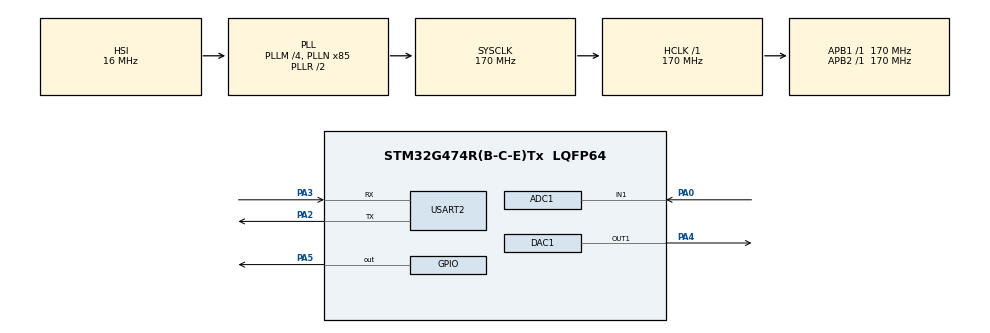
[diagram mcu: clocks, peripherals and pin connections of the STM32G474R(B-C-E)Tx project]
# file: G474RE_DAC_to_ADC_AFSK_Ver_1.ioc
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ADC1.Channel-0\#ChannelRegularConversion=ADC_CHANNEL_1
ADC1.ContinuousConvMode=DISABLE
ADC1.DMAContinuousRequests=ENABLE
ADC1.ExternalTrigConv=ADC_EXTERNALTRIG_T6_TRGO
ADC1.NbrOfConversionFlag=1
ADC1.OffsetNumber-0\#ChannelRegularConversion=ADC_OFFSET_NONE
ADC1.Rank-0\#ChannelRegularConversion=1
ADC1.SamplingTime-0\#ChannelRegularConversion=ADC_SAMPLETIME_47CYCLES_5
ADC1.master=1
DAC1.DAC_Trigger_OUT1-DAC_OUT1_ExtAndInt=DAC_TRIGGER_T6_TRGO
Dma.ADC1.0.Direction=DMA_PERIPH_TO_MEMORY
Dma.ADC1.0.EventEnable=DISABLE
Dma.ADC1.0.Instance=DMA1_Channel1
Dma.ADC1.0.MemDataAlignment=DMA_MDATAALIGN_HALFWORD
Dma.ADC1.0.MemInc=DMA_MINC_ENABLE
Dma.ADC1.0.Mode=DMA_CIRCULAR
Dma.ADC1.0.PeriphDataAlignment=DMA_PDATAALIGN_HALFWORD
Dma.ADC1.0.PeriphInc=DMA_PINC_DISABLE
Dma.ADC1.0.Polarity=HAL_DMAMUX_REQ_GEN_RISING
Dma.ADC1.0.Priority=DMA_PRIORITY_HIGH
Dma.ADC1.0.RequestNumber=1
Dma.ADC1.0.SignalID=NONE
Dma.ADC1.0.SyncEnable=DISABLE
Dma.ADC1.0.SyncPolarity=HAL_DMAMUX_SYNC_NO_EVENT
Dma.ADC1.0.SyncRequestNumber=1
Dma.ADC1.0.SyncSignalID=NONE
Dma.DAC1_CH1.1.Direction=DMA_MEMORY_TO_PERIPH
Dma.DAC1_CH1.1.EventEnable=DISABLE
Dma.DAC1_CH1.1.Instance=DMA1_Channel2
Dma.DAC1_CH1.1.MemDataAlignment=DMA_MDATAALIGN_HALFWORD
Dma.DAC1_CH1.1.MemInc=DMA_MINC_ENABLE
Dma.DAC1_CH1.1.Mode=DMA_CIRCULAR
Dma.DAC1_CH1.1.PeriphDataAlignment=DMA_PDATAALIGN_WORD
Dma.DAC1_CH1.1.PeriphInc=DMA_PINC_DISABLE
Dma.DAC1_CH1.1.Polarity=HAL_DMAMUX_REQ_GEN_RISING
Dma.DAC1_CH1.1.Priority=DMA_PRIORITY_HIGH
Dma.DAC1_CH1.1.RequestNumber=1
Dma.DAC1_CH1.1.SignalID=NONE
Dma.DAC1_CH1.1.SyncEnable=DISABLE
Dma.DAC1_CH1.1.SyncPolarity=HAL_DMAMUX_SYNC_NO_EVENT
Dma.DAC1_CH1.1.SyncRequestNumber=1
Dma.DAC1_CH1.1.SyncSignalID=NONE
Dma.Request0=ADC1
Dma.Request1=DAC1_CH1
Mcu.Family=STM32G4
Mcu.Name=STM32G474R(B-C-E)Tx
Mcu.Package=LQFP64
NVIC.ADC1_2_IRQn=true\:0\:0\:false\:false\:true\:true\:true\:true
NVIC.DMA1_Channel1_IRQn=true\:0\:0\:false\:false\:true\:false\:true\:true
NVIC.DMA1_Channel2_IRQn=true\:0\:0\:false\:false\:true\:false\:true\:true
NVIC.PriorityGroup=NVIC_PRIORITYGROUP_4
NVIC.TIM6_DAC_IRQn=true\:0\:0\:false\:false\:true\:true\:true\:true
NVIC.USART2_IRQn=true\:0\:0\:false\:false\:true\:true\:true\:true
PA0.Mode=IN1-Single-Ended
PA0.Signal=ADC1_IN1
PA13.Mode=Serial_Wire
PA13.Signal=SYS_JTMS-SWDIO
PA14.Mode=Serial_Wire
PA14.Signal=SYS_JTCK-SWCLK
PA2.Mode=Asynchronous
PA2.Signal=USART2_TX
PA3.Mode=Asynchronous
PA3.Signal=USART2_RX
PA4.Signal=COMP_DAC11_group
PA5.Signal=GPIO_Output
PC14-OSC32_IN.Mode=LSE-External-Oscillator
PC14-OSC32_IN.Signal=RCC_OSC32_IN
PC15-OSC32_OUT.Mode=LSE-External-Oscillator
PC15-OSC32_OUT.Signal=RCC_OSC32_OUT
PF0-OSC_IN.Mode=HSE-External-Oscillator
PF0-OSC_IN.Signal=RCC_OSC_IN
PF1-OSC_OUT.Mode=HSE-External-Oscillator
PF1-OSC_OUT.Signal=RCC_OSC_OUT
ProjectManager.HeapSize=0x200
ProjectManager.StackSize=0x400
ProjectManager.TargetToolchain=STM32CubeIDE
RCC.ADC12Freq_Value=170000000
RCC.ADC345Freq_Value=170000000
RCC.AHBFreq_Value=170000000
RCC.APB1Freq_Value=170000000
RCC.APB1TimFreq_Value=170000000
RCC.APB2Freq_Value=170000000
RCC.APB2TimFreq_Value=170000000
RCC.CortexFreq_Value=170000000
RCC.EXTERNAL_CLOCK_VALUE=12288000
RCC.HCLKFreq_Value=170000000
RCC.HSE_VALUE=8000000
RCC.HSI48_VALUE=48000000
RCC.HSI_VALUE=16000000
RCC.PLLM=RCC_PLLM_DIV4
RCC.PLLN=85
RCC.SYSCLKFreq_VALUE=170000000
RCC.SYSCLKSource=RCC_SYSCLKSOURCE_PLLCLK
RCC.USBFreq_Value=170000000
RCC.VCOOutputFreq_Value=340000000
SH.COMP_DAC11_group.0=DAC1_OUT1,DAC_OUT1_ExtAndInt
TIM6.PeriodNoDither=3541
TIM6.TIM_MasterOutputTrigger=TIM_TRGO_UPDATE
USART2.VirtualMode-Asynchronous=VM_ASYNC
VP_SYS_VS_DBSignals.Mode=DisableDeadBatterySignals
VP_TIM6_VS_ClockSourceINT.Mode=Enable_Timer
board=custom

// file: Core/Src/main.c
/* USER CODE BEGIN Header */
/**
 ******************************************************************************
 * @file           : main.c
 * @brief          : Main program body
 ******************************************************************************
 * @attention
 *
 * Copyright (c) 2025 STMicroelectronics.
 * All rights reserved.
 *
 * This software is licensed under terms that can be found in the LICENSE file
 * in the root directory of this software component.
 * If no LICENSE file comes with this software, it is provided AS-IS.
 *
 ******************************************************************************
 */
/* USER CODE END Header */
#include "main.h"

/* USER CODE BEGIN Includes */
#include <math.h>
#include <string.h>
#include <stdio.h>
/* USER CODE END Includes */

/* USER CODE BEGIN PTD */
#define SAMPLE_RATE     48000
#define BITRATE         1200
#define SAMPLES_PER_BIT (SAMPLE_RATE / BITRATE) // 40

#define TABLE_SIZE      64
#define FREQ_MARK       1200
#define FREQ_SPACE      2200
#define DAC_AMPL  2047
#define DAC_OFFS  2048
#define ADC_BUF_LEN ((1+8+1) * SAMPLES_PER_BIT)
/* USER CODE END PTD */

/* USER CODE BEGIN PD */
uint16_t dac_buf[(1 + 8 + 1) * SAMPLES_PER_BIT]; // start + 8 data + stop
uint32_t adc_buf[ADC_BUF_LEN];

/* --- Sine tables --- */
uint16_t sine1200[TABLE_SIZE];
uint16_t sine2200[TABLE_SIZE];
volatile uint8_t adc_done = 0;
/* UART + LED */
char uart_msg[64];

/* USER CODE END PD */

/* USER CODE BEGIN PM */
void build_afsk_lut(uint8_t bit);        // generate AFSK tone for 0 or 1
void afsk_send_char(uint8_t c);         // convert char to bits + fill DAC
void goertzel_decode_half(uint16_t *buf, uint16_t len);
void goertzel_decode_full(uint16_t *buf, uint16_t len);
/* USER CODE END PM */

ADC_HandleTypeDef hadc1;
DMA_HandleTypeDef hdma_adc1;

DAC_HandleTypeDef hdac1;
DMA_HandleTypeDef hdma_dac1_ch1;

TIM_HandleTypeDef htim6;

UART_HandleTypeDef huart2;

void SystemClock_Config(void);
static void MX_GPIO_Init(void);
static void MX_DMA_Init(void);
static void MX_ADC1_Init(void);
static void MX_DAC1_Init(void);
static void MX_TIM6_Init(void);
static void MX_USART2_UART_Init(void);

/* USER CODE BEGIN 0 */
void make_sine_tables(void);
void afsk_build_char(uint8_t ch);
uint8_t goertzel_decode_bit(uint16_t *samples);
uint8_t afsk_receive_char(void);
void fill_tone(uint16_t *buf, int samples, float freq);

/* USER CODE END 0 */

int main(void)
{

  /* MCU Configuration--------------------------------------------------------*/

  /* Reset of all peripherals, Initializes the Flash interface and the Systick. */
  HAL_Init();

  /* Configure the system clock */
  SystemClock_Config();

  /* Initialize all configured peripherals */
  MX_GPIO_Init();
  MX_DMA_Init();
  MX_ADC1_Init();
  MX_DAC1_Init();
  MX_TIM6_Init();
  MX_USART2_UART_Init();
  /* USER CODE BEGIN 2 */
	HAL_TIM_Base_Start(&htim6);
	afsk_build_char('K');
	HAL_DAC_Start_DMA(&hdac1, DAC_CHANNEL_1, (uint32_t*) dac_buf,
			sizeof(dac_buf) / sizeof(dac_buf[0]), DAC_ALIGN_12B_R);
	HAL_ADC_Start_DMA(&hadc1, (uint32_t*) adc_buf,
			sizeof(dac_buf) / sizeof(dac_buf[0]));

	make_sine_tables();

	sprintf(uart_msg, "AFSK Loopback Start\r\n");
	HAL_UART_Transmit(&huart2, (uint8_t*) uart_msg, strlen(uart_msg),
	HAL_MAX_DELAY);
	if (adc_done) {
		adc_done = 0; // reset flag

		// Debug: print first 16 ADC samples
		for (int i = 0; i < 16; i++) {
			sprintf(uart_msg, "%lu ", (unsigned long) adc_buf[i]);

			HAL_UART_Transmit(&huart2, (uint8_t*) uart_msg, strlen(uart_msg),
			HAL_MAX_DELAY);
		}
		HAL_UART_Transmit(&huart2, (uint8_t*) "\r\n", 2, HAL_MAX_DELAY);

		// Then try decode
		uint8_t decoded = afsk_receive_char();
		sprintf(uart_msg, "TX: K | RX: %c\r\n", decoded);
		HAL_UART_Transmit(&huart2, (uint8_t*) uart_msg, strlen(uart_msg),
		HAL_MAX_DELAY);
	}

  /* USER CODE END 2 */

  /* Infinite loop */
	while (1) {

    /* USER CODE BEGIN 3 */
		if (adc_done) {
			adc_done = 0;  // reset flag

			// Print first 16 ADC samples for debugging
			for (int i = 0; i < 16; i++) {
				sprintf(uart_msg, "%lu ", (unsigned long) adc_buf[i]);
				HAL_UART_Transmit(&huart2, (uint8_t*) uart_msg,
						strlen(uart_msg), HAL_MAX_DELAY);
			}
			HAL_UART_Transmit(&huart2, (uint8_t*) "\r\n", 2, HAL_MAX_DELAY);

			// Decode received character
			uint8_t decoded = afsk_receive_char();
			sprintf(uart_msg, "TX: K | RX: %c\r\n", decoded);
			HAL_UART_Transmit(&huart2, (uint8_t*) uart_msg, strlen(uart_msg),
					HAL_MAX_DELAY);

			// Optional: rebuild DAC buffer for next char here
		}
	}
  /* USER CODE END 3 */
}

void SystemClock_Config(void)
{
  RCC_OscInitTypeDef RCC_OscInitStruct = {0};
  RCC_ClkInitTypeDef RCC_ClkInitStruct = {0};

  /** Configure the main internal regulator output voltage
  */
  HAL_PWREx_ControlVoltageScaling(PWR_REGULATOR_VOLTAGE_SCALE1_BOOST);

  /** Initializes the RCC Oscillators according to the specified parameters
  * in the RCC_OscInitTypeDef structure.
  */
  RCC_OscInitStruct.OscillatorType = RCC_OSCILLATORTYPE_HSI;
  RCC_OscInitStruct.HSIState = RCC_HSI_ON;
  RCC_OscInitStruct.HSICalibrationValue = RCC_HSICALIBRATION_DEFAULT;
  RCC_OscInitStruct.PLL.PLLState = RCC_PLL_ON;
  RCC_OscInitStruct.PLL.PLLSource = RCC_PLLSOURCE_HSI;
  RCC_OscInitStruct.PLL.PLLM = RCC_PLLM_DIV4;
  RCC_OscInitStruct.PLL.PLLN = 85;
  RCC_OscInitStruct.PLL.PLLP = RCC_PLLP_DIV2;
  RCC_OscInitStruct.PLL.PLLQ = RCC_PLLQ_DIV2;
  RCC_OscInitStruct.PLL.PLLR = RCC_PLLR_DIV2;
  if (HAL_RCC_OscConfig(&RCC_OscInitStruct) != HAL_OK)
  {
    Error_Handler();
  }

  /** Initializes the CPU, AHB and APB buses clocks
  */
  RCC_ClkInitStruct.ClockType = RCC_CLOCKTYPE_HCLK|RCC_CLOCKTYPE_SYSCLK
                              |RCC_CLOCKTYPE_PCLK1|RCC_CLOCKTYPE_PCLK2;
  RCC_ClkInitStruct.SYSCLKSource = RCC_SYSCLKSOURCE_PLLCLK;
  RCC_ClkInitStruct.AHBCLKDivider = RCC_SYSCLK_DIV1;
  RCC_ClkInitStruct.APB1CLKDivider = RCC_HCLK_DIV1;
  RCC_ClkInitStruct.APB2CLKDivider = RCC_HCLK_DIV1;

  if (HAL_RCC_ClockConfig(&RCC_ClkInitStruct, FLASH_LATENCY_4) != HAL_OK)
  {
    Error_Handler();
  }
}

static void MX_ADC1_Init(void)
{

  ADC_MultiModeTypeDef multimode = {0};
  ADC_ChannelConfTypeDef sConfig = {0};

  /** Common config
  */
  hadc1.Instance = ADC1;
  hadc1.Init.ClockPrescaler = ADC_CLOCK_SYNC_PCLK_DIV4;
  hadc1.Init.Resolution = ADC_RESOLUTION_12B;
  hadc1.Init.DataAlign = ADC_DATAALIGN_RIGHT;
  hadc1.Init.GainCompensation = 0;
  hadc1.Init.ScanConvMode = ADC_SCAN_DISABLE;
  hadc1.Init.EOCSelection = ADC_EOC_SINGLE_CONV;
  hadc1.Init.LowPowerAutoWait = DISABLE;
  hadc1.Init.ContinuousConvMode = DISABLE;
  hadc1.Init.NbrOfConversion = 1;
  hadc1.Init.DiscontinuousConvMode = DISABLE;
  hadc1.Init.ExternalTrigConv = ADC_EXTERNALTRIG_T6_TRGO;
  hadc1.Init.ExternalTrigConvEdge = ADC_EXTERNALTRIGCONVEDGE_RISING;
  hadc1.Init.DMAContinuousRequests = ENABLE;
  hadc1.Init.Overrun = ADC_OVR_DATA_PRESERVED;
  hadc1.Init.OversamplingMode = DISABLE;
  if (HAL_ADC_Init(&hadc1) != HAL_OK)
  {
    Error_Handler();
  }

  /** Configure the ADC multi-mode
  */
  multimode.Mode = ADC_MODE_INDEPENDENT;
  if (HAL_ADCEx_MultiModeConfigChannel(&hadc1, &multimode) != HAL_OK)
  {
    Error_Handler();
  }

  /** Configure Regular Channel
  */
  sConfig.Channel = ADC_CHANNEL_1;
  sConfig.Rank = ADC_REGULAR_RANK_1;
  sConfig.SamplingTime = ADC_SAMPLETIME_47CYCLES_5;
  sConfig.SingleDiff = ADC_SINGLE_ENDED;
  sConfig.OffsetNumber = ADC_OFFSET_NONE;
  sConfig.Offset = 0;
  if (HAL_ADC_ConfigChannel(&hadc1, &sConfig) != HAL_OK)
  {
    Error_Handler();
  }

}

static void MX_DAC1_Init(void)
{

  DAC_ChannelConfTypeDef sConfig = {0};

  /** DAC Initialization
  */
  hdac1.Instance = DAC1;
  if (HAL_DAC_Init(&hdac1) != HAL_OK)
  {
    Error_Handler();
  }

  /** DAC channel OUT1 config
  */
  sConfig.DAC_HighFrequency = DAC_HIGH_FREQUENCY_INTERFACE_MODE_AUTOMATIC;
  sConfig.DAC_DMADoubleDataMode = DISABLE;
  sConfig.DAC_SignedFormat = DISABLE;
  sConfig.DAC_SampleAndHold = DAC_SAMPLEANDHOLD_DISABLE;
  sConfig.DAC_Trigger = DAC_TRIGGER_T6_TRGO;
  sConfig.DAC_Trigger2 = DAC_TRIGGER_NONE;
  sConfig.DAC_OutputBuffer = DAC_OUTPUTBUFFER_ENABLE;
  sConfig.DAC_ConnectOnChipPeripheral = DAC_CHIPCONNECT_BOTH;
  sConfig.DAC_UserTrimming = DAC_TRIMMING_FACTORY;
  if (HAL_DAC_ConfigChannel(&hdac1, &sConfig, DAC_CHANNEL_1) != HAL_OK)
  {
    Error_Handler();
  }

}

static void MX_TIM6_Init(void)
{

  TIM_MasterConfigTypeDef sMasterConfig = {0};

  htim6.Instance = TIM6;
  htim6.Init.Prescaler = 0;
  htim6.Init.CounterMode = TIM_COUNTERMODE_UP;
  htim6.Init.Period = 3541;
  htim6.Init.AutoReloadPreload = TIM_AUTORELOAD_PRELOAD_DISABLE;
  if (HAL_TIM_Base_Init(&htim6) != HAL_OK)
  {
    Error_Handler();
  }
  sMasterConfig.MasterOutputTrigger = TIM_TRGO_UPDATE;
  sMasterConfig.MasterSlaveMode = TIM_MASTERSLAVEMODE_DISABLE;
  if (HAL_TIMEx_MasterConfigSynchronization(&htim6, &sMasterConfig) != HAL_OK)
  {
    Error_Handler();
  }

}

static void MX_USART2_UART_Init(void)
{

  huart2.Instance = USART2;
  huart2.Init.BaudRate = 115200;
  huart2.Init.WordLength = UART_WORDLENGTH_8B;
  huart2.Init.StopBits = UART_STOPBITS_1;
  huart2.Init.Parity = UART_PARITY_NONE;
  huart2.Init.Mode = UART_MODE_TX_RX;
  huart2.Init.HwFlowCtl = UART_HWCONTROL_NONE;
  huart2.Init.OverSampling = UART_OVERSAMPLING_16;
  huart2.Init.OneBitSampling = UART_ONE_BIT_SAMPLE_DISABLE;
  huart2.Init.ClockPrescaler = UART_PRESCALER_DIV1;
  huart2.AdvancedInit.AdvFeatureInit = UART_ADVFEATURE_NO_INIT;
  if (HAL_UART_Init(&huart2) != HAL_OK)
  {
    Error_Handler();
  }
  if (HAL_UARTEx_SetTxFifoThreshold(&huart2, UART_TXFIFO_THRESHOLD_1_8) != HAL_OK)
  {
    Error_Handler();
  }
  if (HAL_UARTEx_SetRxFifoThreshold(&huart2, UART_RXFIFO_THRESHOLD_1_8) != HAL_OK)
  {
    Error_Handler();
  }
  if (HAL_UARTEx_DisableFifoMode(&huart2) != HAL_OK)
  {
    Error_Handler();
  }

}

static void MX_DMA_Init(void)
{

  /* DMA controller clock enable */
  __HAL_RCC_DMAMUX1_CLK_ENABLE();
  __HAL_RCC_DMA1_CLK_ENABLE();

  /* DMA interrupt init */
  /* DMA1_Channel1_IRQn interrupt configuration */
  HAL_NVIC_SetPriority(DMA1_Channel1_IRQn, 0, 0);
  HAL_NVIC_EnableIRQ(DMA1_Channel1_IRQn);
  /* DMA1_Channel2_IRQn interrupt configuration */
  HAL_NVIC_SetPriority(DMA1_Channel2_IRQn, 0, 0);
  HAL_NVIC_EnableIRQ(DMA1_Channel2_IRQn);

}

static void MX_GPIO_Init(void)
{
  GPIO_InitTypeDef GPIO_InitStruct = {0};

  /* GPIO Ports Clock Enable */
  __HAL_RCC_GPIOC_CLK_ENABLE();
  __HAL_RCC_GPIOF_CLK_ENABLE();
  __HAL_RCC_GPIOA_CLK_ENABLE();

  /*Configure GPIO pin Output Level */
  HAL_GPIO_WritePin(GPIOA, GPIO_PIN_5, GPIO_PIN_RESET);

  /*Configure GPIO pin : PA5 */
  GPIO_InitStruct.Pin = GPIO_PIN_5;
  GPIO_InitStruct.Mode = GPIO_MODE_OUTPUT_PP;
  GPIO_InitStruct.Pull = GPIO_NOPULL;
  GPIO_InitStruct.Speed = GPIO_SPEED_FREQ_LOW;
  HAL_GPIO_Init(GPIOA, &GPIO_InitStruct);

}

/* USER CODE BEGIN 4 */
void make_sine_tables(void) {
	for (int i = 0; i < TABLE_SIZE; i++) {
		// 1200 Hz sine wave
		float t_mark = (2.0f * M_PI * FREQ_MARK * i) / SAMPLE_RATE;
		sine1200[i] = 2048 + (int) (2047 * sinf(t_mark));

		// 2200 Hz sine wave
		float t_space = (2.0f * M_PI * FREQ_SPACE * i) / SAMPLE_RATE;
		sine2200[i] = 2048 + (int) (2047 * sinf(t_space));
	}
}
/* ------------------------------------------------------------------------- */
/* Build DAC buffer for one UART-style char */
void afsk_build_char(uint8_t ch) {
	int idx = 0;

	// Start bit = SPACE (2200 Hz)
	fill_tone(&dac_buf[idx], SAMPLES_PER_BIT, FREQ_SPACE);
	idx += SAMPLES_PER_BIT;

	// Data bits
	for (int b = 0; b < 8; b++) {
		int bit = (ch >> b) & 1;
		float freq = bit ? FREQ_MARK : FREQ_SPACE;
		fill_tone(&dac_buf[idx], SAMPLES_PER_BIT, freq);
		idx += SAMPLES_PER_BIT;
	}

	// Stop bit = MARK (1200 Hz)
	fill_tone(&dac_buf[idx], SAMPLES_PER_BIT, FREQ_MARK);
	idx += SAMPLES_PER_BIT;
}

/* ------------------------------------------------------------------------- */
/* Goertzel: detect 1200 vs 2200 Hz */
uint8_t goertzel_decode_bit(uint16_t *samples) {
	float coeff1200 = 2 * cosf(2 * M_PI * FREQ_MARK / SAMPLE_RATE);
	float coeff2200 = 2 * cosf(2 * M_PI * FREQ_SPACE / SAMPLE_RATE);

	float s1200 = 0, s1200_prev = 0, s1200_prev2 = 0;
	float s2200 = 0, s2200_prev = 0, s2200_prev2 = 0;

	for (int i = 0; i < SAMPLES_PER_BIT; i++) {
		float x = (float) samples[i] - 2048;
		s1200 = x + coeff1200 * s1200_prev - s1200_prev2;
		s2200 = x + coeff2200 * s2200_prev - s2200_prev2;
		s1200_prev2 = s1200_prev;
		s1200_prev = s1200;
		s2200_prev2 = s2200_prev;
		s2200_prev = s2200;
	}

	float power1200 = s1200_prev2 * s1200_prev2 + s1200_prev * s1200_prev
			- coeff1200 * s1200_prev * s1200_prev2;
	float power2200 = s2200_prev2 * s2200_prev2 + s2200_prev * s2200_prev
			- coeff2200 * s2200_prev * s2200_prev2;

	return (power1200 > power2200) ? 1 : 0;
}

/* ------------------------------------------------------------------------- */
/* Decode one character from ADC buffer */
uint8_t afsk_receive_char(void) {
	int idx = 0;
	uint8_t ch = 0;

	// skip start bit
	idx += SAMPLES_PER_BIT;

	// decode 8 bits
	for (int b = 0; b < 8; b++) {
		uint8_t bit = goertzel_decode_bit((uint16_t*) &adc_buf[idx]);

		ch |= (bit << b);
		idx += SAMPLES_PER_BIT;
	}

	// stop bit ignored
	return ch;
}

void HAL_ADC_ConvCpltCallback(ADC_HandleTypeDef *hadc) {
	if (hadc->Instance == ADC1) {
		adc_done = 1;
	}
}

void fill_tone(uint16_t *buf, int samples, float freq) {
	static float phase = 0;
	float step = 2.0f * M_PI * freq / SAMPLE_RATE;
	for (int i = 0; i < samples; i++) {
		buf[i] = DAC_OFFS + (int) (DAC_AMPL * sinf(phase));
		phase += step;
		if (phase >= 2.0f * M_PI)
			phase -= 2.0f * M_PI;
	}
}

// Build one character frame (start, 8 data bits, stop)

/* USER CODE END 4 */

void Error_Handler(void)
{
	__disable_irq();
	while (1) {
	}
}
